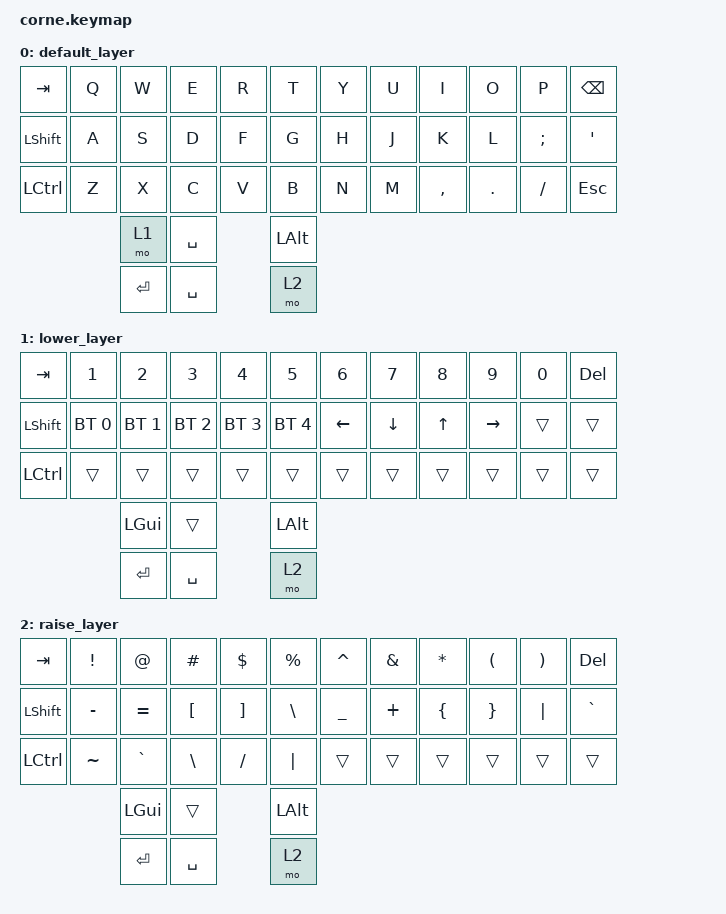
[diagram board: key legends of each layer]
/*
 * Copyright (c) 2020 The ZMK Contributors
 *
 * SPDX-License-Identifier: MIT
 */

#include <behaviors.dtsi>
#include <dt-bindings/zmk/keys.h>
#include <dt-bindings/zmk/bt.h>

 / {
        keymap {
                compatible = "zmk,keymap";

                default_layer {
// -----------------------------------------------------------------------------------------
// |  TAB  |  Q  |  W  |  E  |  R  |  T  |   |  Y  |  U   |  I  |  O  |  P  |  BSPC  |
// | SHIFT |  A  |  S  |  D  |  F  |  G  |   |  H  |  J   |  K  |  L  |  ;  |  '    |
// | CTRL  |  Z  |  X  |  C  |  V  |  B  |   |  N  |  M   |  ,  |  .  |  /  |  ESC  |
//                    | LWR | SPC | ALT |   | ENT | SPC  | RSE  |
                        bindings = <
   &kp TAB   &kp Q &kp W &kp E &kp R &kp T   &kp Y &kp U  &kp I     &kp O   &kp P    &kp BSPC
   &kp LSHFT &kp A &kp S &kp D &kp F &kp G   &kp H &kp J  &kp K     &kp L   &kp SEMI &kp SQT
   &kp LCTRL &kp Z &kp X &kp C &kp V &kp B   &kp N &kp M  &kp COMMA &kp DOT &kp FSLH &kp ESC
                  &mo 1  &kp SPACE &kp LALT  
                  &kp RET &kp SPACE &mo 2
                        >;
                };

                lower_layer {
// -----------------------------------------------------------------------------------------
// |  TAB  |  1  |  2  |  3  |  4  |  5  |   |  6  |  7  |  8  |  9  |  0  |  DEL  |
// | SHIFT | BT1 | BT2 | BT3 | BT4 | BT5 |   |LEFT |DOWN | UP  |RIGHT|     |       |
// | CTRL  |     |     |     |     |     |   |     |     |     |     |     |       |
//                    | GUI | SPC | ALT |   | ENT | SPC  | RSE  |
                        bindings = <
   &kp TAB    &kp N1       &kp N2       &kp N3       &kp N4       &kp N5         &kp N6   &kp N7   &kp N8 &kp N9    &kp N0 &kp DEL
   &kp LSHFT  &bt BT_SEL 0 &bt BT_SEL 1 &bt BT_SEL 2 &bt BT_SEL 3 &bt BT_SEL 4   &kp LEFT &kp DOWN &kp UP &kp RIGHT &trans &trans
   &kp LCTRL  &trans       &trans       &trans       &trans       &trans         &trans   &trans   &trans &trans    &trans &trans
                                    &kp LGUI     &trans       &kp LALT      &kp RET  &kp SPACE   &mo 2
                        >;
                };

                raise_layer {
// -----------------------------------------------------------------------------------------
// |  TAB  |  !  |  @  |  #  |  $  |  %  |   |  ^  |  &  |  *  |  (  |  )  |  DEL  |
// | SHIFT |  -  |  =  |  [  |  ]  |  \  |   |  _  |  +  |  {  |  }  |  |  |  `    |
// | CTRL  |  ~  |  `  |  \  |  /  |  |  |   |     |     |     |     |     |       |
//                    | GUI | SPC | ALT |   | ENT | SPC  | RSE  |
                        bindings = <
   &kp TAB    &kp EXCL &kp AT &kp HASH &kp DLLR &kp PRCNT   &kp CARET &kp AMPS  &kp ASTRK &kp LPAR &kp RPAR &kp DEL
   &kp LSHFT  &kp MINUS &kp EQUAL &kp LBKT  &kp RBKT &kp BSLH  &kp UNDER &kp PLUS  &kp LBRC  &kp RBRC &kp PIPE &kp GRAVE
   &kp LCTRL  &kp TILDE &kp GRAVE &kp BSLH  &kp FSLH &kp PIPE  &trans   &trans   &trans   &trans   &trans &trans
                                    &kp LGUI     &trans       &kp LALT      &kp RET  &kp SPACE   &mo 2
                        >;
                };
        };
};
